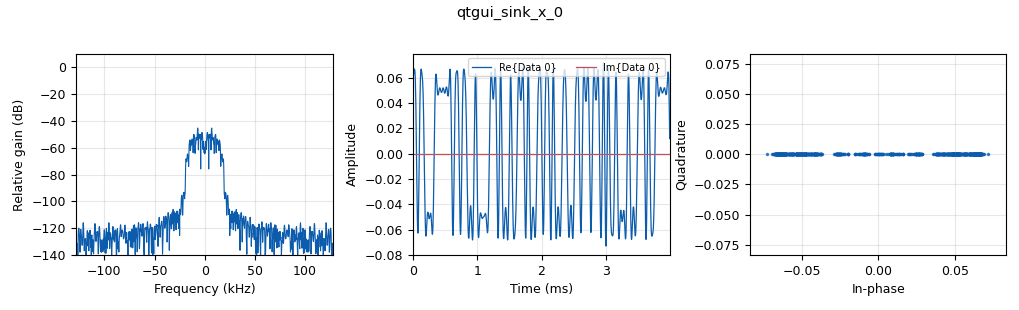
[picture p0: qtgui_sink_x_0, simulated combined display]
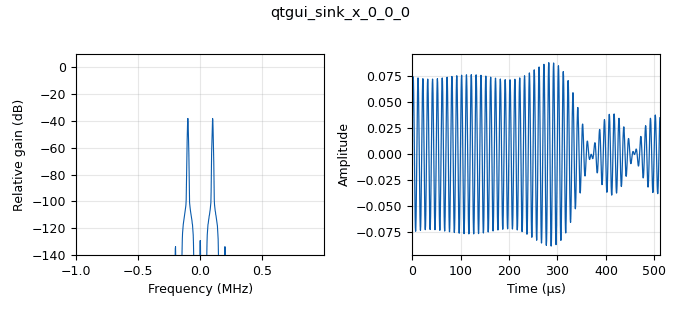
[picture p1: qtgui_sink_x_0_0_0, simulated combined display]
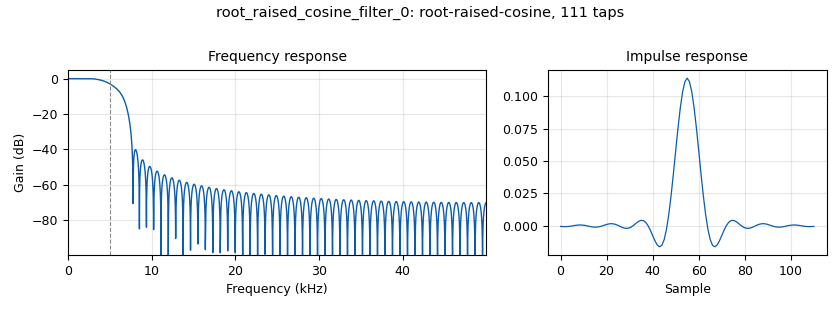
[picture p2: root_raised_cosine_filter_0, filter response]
options:
  parameters:
    generate_options: qt_gui
    id: lab91
    output_language: python
    title: lab91
  states: {}

blocks:
- name: analog_random_source_x_0
  id: analog_random_source_x
  parameters:
    max: '2'
    min: '0'
    num_samps: '1000'
    repeat: 'True'
    type: byte
  states: {}
- name: analog_sig_source_x_0
  id: analog_sig_source_x
  parameters:
    amp: '1'
    freq: '100000'
    offset: '0'
    phase: '0'
    samp_rate: '2000000'
    type: float
    waveform: analog.GR_COS_WAVE
  states: {}
- name: blocks_add_xx_0
  id: blocks_add_xx
  parameters:
    type: float
  states: {}
- name: blocks_complex_to_real_0
  id: blocks_complex_to_real
  parameters: {}
  states: {}
- name: blocks_delay_0
  id: blocks_delay
  parameters:
    delay: '200'
    type: float
  states: {}
- name: blocks_multiply_const_vxx_0
  id: blocks_multiply_const_vxx
  parameters:
    const: '0.5'
    type: float
  states: {}
- name: blocks_multiply_xx_0
  id: blocks_multiply_xx
  parameters:
    type: float
  states: {}
- name: blocks_throttle_0
  id: blocks_throttle
  parameters:
    samples_per_second: '256000'
    type: complex
  states: {}
- name: blocks_throttle_0_0_0
  id: blocks_throttle
  parameters:
    samples_per_second: '2000000'
    type: float
  states: {}
- name: digital_chunks_to_symbols_xx_0
  id: digital_chunks_to_symbols_xx
  parameters:
    dimension: '1'
    in_type: byte
    out_type: complex
    symbol_table: (-0.5, 0.5)
  states: {}
- name: interp_fir_filter_xxx_0
  id: interp_fir_filter_xxx
  parameters:
    interp: '10'
    taps: '1'
    type: ccc
  states: {}
- name: qtgui_sink_x_0
  id: qtgui_sink_x
  parameters:
    bw: '256000'
    fc: '0'
    fftsize: '1024'
    type: complex
  states: {}
- name: qtgui_sink_x_0_0_0
  id: qtgui_sink_x
  parameters:
    bw: '2000000'
    fc: '0'
    fftsize: '1024'
    type: float
  states: {}
- name: rational_resampler_xxx_0
  id: rational_resampler_xxx
  parameters:
    decim: '1'
    interp: '20'
    type: ccc
  states: {}
- name: root_raised_cosine_filter_0
  id: root_raised_cosine_filter
  parameters:
    alpha: '0.5'
    gain: '1'
    interp: '1'
    ntaps: '110'
    samp_rate: '100000'
    sym_rate: '10000'
    type: interp_fir_filter_ccf
  states: {}

connections:
- [analog_random_source_x_0, '0', digital_chunks_to_symbols_xx_0, '0']
- [analog_sig_source_x_0, '0', blocks_multiply_xx_0, '1']
- [blocks_add_xx_0, '0', blocks_throttle_0_0_0, '0']
- [blocks_complex_to_real_0, '0', blocks_multiply_xx_0, '0']
- [blocks_delay_0, '0', blocks_multiply_const_vxx_0, '0']
- [blocks_multiply_const_vxx_0, '0', blocks_add_xx_0, '0']
- [blocks_multiply_xx_0, '0', blocks_add_xx_0, '1']
- [blocks_multiply_xx_0, '0', blocks_delay_0, '0']
- [blocks_throttle_0, '0', qtgui_sink_x_0, '0']
- [blocks_throttle_0_0_0, '0', qtgui_sink_x_0_0_0, '0']
- [digital_chunks_to_symbols_xx_0, '0', interp_fir_filter_xxx_0, '0']
- [interp_fir_filter_xxx_0, '0', root_raised_cosine_filter_0, '0']
- [rational_resampler_xxx_0, '0', blocks_complex_to_real_0, '0']
- [root_raised_cosine_filter_0, '0', blocks_throttle_0, '0']
- [root_raised_cosine_filter_0, '0', rational_resampler_xxx_0, '0']

metadata:
  file_format: 1
